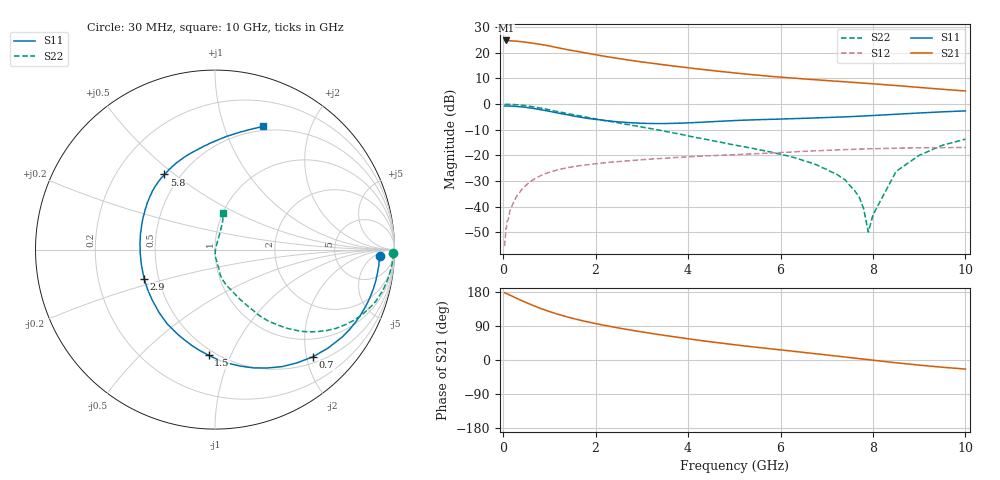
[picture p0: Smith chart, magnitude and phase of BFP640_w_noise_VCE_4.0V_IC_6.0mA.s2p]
! Infineon Technologies  Discrete & RF Semiconductors
! BFP640
! VCE =  4.0 V,  IC =  6.0 mA
! Common Emitter S-Parameters:  Apr 2013
# GHz  S  MA  R  50
!  f  S11  S21  S12  S22
! GHz  MAG  ANG  MAG  ANG  MAG  ANG  MAG  ANG
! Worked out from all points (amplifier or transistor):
!   99 points, 30 MHz to 10 GHz, reference 50 ohm
!   highest |S21| = 24.8 dB at 60 MHz (marker M1)
!   |S21| within 3 dB of that: start of sweep to 1.227 GHz
!   unconditionally stable (mu >= 1): 4.586 GHz to end of sweep
!   at 350 MHz: K = 0.12, MSG = 29.5 dB, |S12| = -34.6 dB
!   at 3.5 GHz: K = 0.88, MSG = 18.2 dB, |S12| = -21.1 dB
!   at 10 GHz: K = 1.13, MAG = 8.8 dB, |S12| = -16.9 dB
!   lowest NFmin = 0.56 dB at 450 MHz
!   S11 on the Smith chart (normalised r, x): 30 MHz: 20, -9; 700 MHz: 0.61, -2.13; 1.5 GHz: 0.46, -0.83; 2.9 GHz: 0.42, -0.16; 5.8 GHz: 0.41, +0.46; 10 GHz: 0.45, +1.36
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0.03  0.9188 -2.1  17.24 177.4  0.0017 53.0  0.9913 -1.2
0.06  0.9169 -4.1  17.36 175.8  0.0038 68.8  0.9895 -2.4
0.3  0.8968 -20.8  16.79 162.3  0.0164 78.5  0.9675 -12.2
0.4  0.8801 -27.7  16.45 156.8  0.0217 74.6  0.9486 -16.1
0.6  0.8355 -41.0  15.54 146.2  0.0314 68.4  0.8982 -23.6
0.7  0.8094 -47.5  15.05 141.3  0.0358 65.3  0.8694 -26.9
0.8  0.7788 -54.2  14.63 136.4  0.0399 61.9  0.8379 -30.0
1  0.7203 -66.3  13.55 127.8  0.047 56.4  0.7715 -35.7
1.2  0.6653 -77.5  12.44 120.1  0.053 51.5  0.7098 -40.2
1.5  0.5895 -93.5  11.03 110.0  0.0597 45.9  0.6248 -45.6
1.7  0.5491 -103.7  10.22 104.1  0.0638 42.9  0.5779 -48.4
2.2  0.4782 -127.5  8.525 91.1  0.0716 36.6  0.476 -54.3
2.9  0.4264 -157.7  6.826 76.1  0.0811 30.3  0.3711 -59.4
3.4  0.4172 -177.8  5.942 66.6  0.0869 26.6  0.3074 -63.5
4.2  0.4389 155.8  4.854 52.7  0.0958 21.1  0.2206 -70.7
5.1  0.4807 135.2  3.97 38.9  0.1044 15.6  0.1535 -77.5
5.8  0.5046 123.9  3.464 29.3  0.1114 11.6  0.1162 -78.2
6.7  0.535 111.2  3.007 17.3  0.122 6.1  0.0693 -81.4
7.6  0.5737 97.5  2.633 5.0  0.1315 -0.6  0.0207 -88.0
7.9  0.5921 93.0  2.521 0.9  0.1342 -3.0  0.0032 -27.8
8.5  0.6334 84.3  2.297 -7.3  0.1383 -7.7  0.0486 72.7
10  0.7362 68.7  1.799 -23.9  0.1427 -17.4  0.207 76.8
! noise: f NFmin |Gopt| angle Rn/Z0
0.45  0.56  0.4  11  0.09
0.9  0.58  0.4  20  0.09
1.5  0.6  0.35  32  0.09
1.9  0.63  0.3  50  0.09
2.4  0.69  0.27  58  0.09
3.5  0.83  0.22  81  0.09
5.5  1.09  0.26  -150  0.11
10  1.75  0.61  -63  0.42
